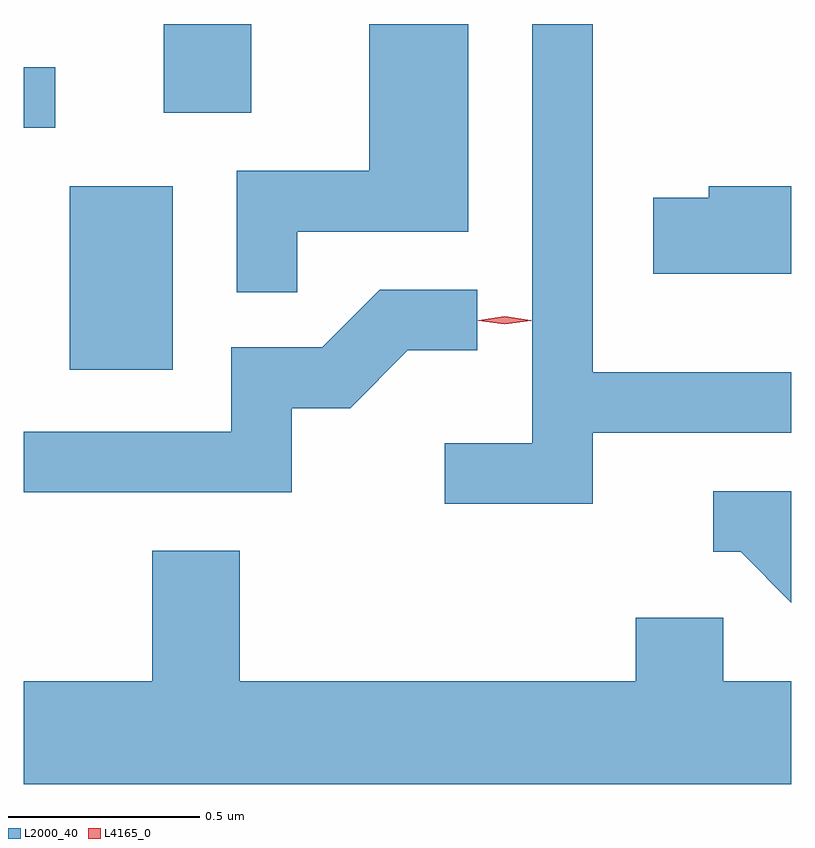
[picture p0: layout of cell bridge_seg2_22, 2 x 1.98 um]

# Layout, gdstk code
import gdstk
lib = gdstk.Library(unit=1e-6, precision=1e-09)
def R(c, l, rs):  # rectangles x0, y0, x1, y1
    for r in rs: c.add(gdstk.rectangle(r[:2], r[2:], *l))
def P(c, l, *ps):  # polygons
    for p in ps: c.add(gdstk.Polygon(p, *l))
L2000_40 = (2000, 40)
L4165_0 = (4165, 0)

bridge_seg2_22 = lib.new_cell('bridge_seg2_22')
R(bridge_seg2_22, L2000_40, [(1569.056,1107.116,1569.324,1107.594), (1568.936,1107.746,1569.018,1107.904), (1569.301,1107.786,1569.529,1108.017)])
P(bridge_seg2_22, L2000_40, [(1570.419,1106.951),(1570.936,1106.951),(1570.936,1107.109),(1570.419,1107.109),(1570.419,1108.017),(1570.261,1108.017),(1570.261,1106.924),(1570.033,1106.924),(1570.033,1106.766),(1570.419,1106.766)],
  [(1569.649,1107.476),(1570.094,1107.476),(1570.094,1108.017),(1569.836,1108.017),(1569.836,1107.634),(1569.491,1107.634),(1569.491,1107.318),(1569.649,1107.318)],
  [(1570.936,1107.594),(1570.721,1107.594),(1570.721,1107.564),(1570.576,1107.564),(1570.576,1107.366),(1570.936,1107.366)],
  [(1569.634,1107.016),(1569.787,1107.016),(1569.937,1107.166),(1570.118,1107.166),(1570.118,1107.324),(1569.864,1107.324),(1569.714,1107.174),(1569.476,1107.174),(1569.476,1106.954),(1568.936,1106.954),(1568.936,1106.796),(1569.634,1106.796)],
  [(1570.936,1106.799),(1570.733,1106.799),(1570.733,1106.641),(1570.804,1106.641),(1570.936,1106.509)],
  [(1570.936,1106.304),(1570.759,1106.304),(1570.759,1106.469),(1570.531,1106.469),(1570.531,1106.304),(1569.499,1106.304),(1569.499,1106.644),(1569.271,1106.644),(1569.271,1106.304),(1568.936,1106.304),(1568.936,1106.036),(1570.936,1106.036)])
P(bridge_seg2_22, L4165_0, [(1570.189,1107.235),(1570.12,1107.244),(1570.12,1107.245),(1570.12,1107.245),(1570.189,1107.255),(1570.259,1107.245),(1570.259,1107.245),(1570.259,1107.244)])

lib.write_gds('bridge_seg2_22.gds')
